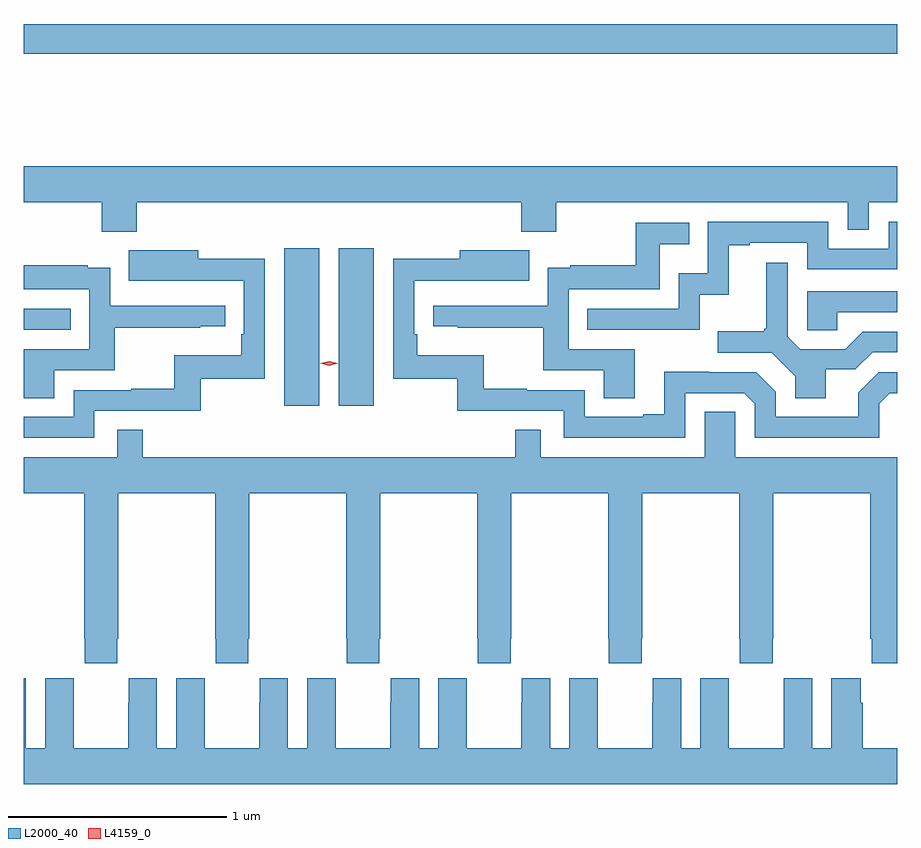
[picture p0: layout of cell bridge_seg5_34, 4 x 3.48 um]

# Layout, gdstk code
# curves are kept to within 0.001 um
import gdstk
lib = gdstk.Library(unit=1e-6, precision=1e-09)
def R(c, l, rs):  # rectangles x0, y0, x1, y1
    for r in rs: c.add(gdstk.rectangle(r[:2], r[2:], *l))
def P(c, l, *ps):  # polygons
    for p in ps: c.add(gdstk.Polygon(p, *l))
L2000_40 = (2000, 40)
L4159_0 = (4159, 0)

bridge_seg5_34 = lib.new_cell('bridge_seg5_34')
R(bridge_seg5_34, L2000_40, [(996.275,909.108,996.436,909.829), (996.524,909.108,996.685,909.829), (995.082,909.456,995.297,909.552), (995.082,910.72,999.082,910.856)])
P(bridge_seg5_34, L2000_40, [(995.6,910.04),(997.361,910.04),(997.361,909.905),(997.521,909.905),(997.521,910.04),(998.856,910.04),(998.856,909.913),(998.952,909.913),(998.952,910.04),(999.082,910.04),(999.082,910.204),(995.082,910.204),(995.082,910.04),(995.44,910.04),(995.44,909.905),(995.6,909.905)],
  [(998.178,909.617),(998.311,909.617),(998.311,909.843),(998.407,909.843),(998.407,909.855),(998.67,909.855),(998.67,909.732),(999.082,909.732),(999.082,909.951),(999.042,909.951),(999.042,909.828),(998.766,909.828),(998.766,909.951),(998.214,909.951),(998.214,909.715),(998.082,909.715),(998.082,909.552),(997.663,909.552),(997.663,909.456),(998.178,909.456)],
  [(997.879,909.366),(997.578,909.366),(997.578,909.642),(997.995,909.642),(997.995,909.848),(998.129,909.848),(998.129,909.945),(997.884,909.945),(997.884,909.751),(997.585,909.751),(997.585,909.739),(997.482,909.739),(997.482,909.567),(996.957,909.567),(996.957,909.471),(997.069,909.471),(997.069,909.466),(997.462,909.466),(997.462,909.27),(997.739,909.27),(997.739,909.142),(997.879,909.142)],
  [(995.406,909.084),(995.893,909.084),(995.893,909.231),(996.186,909.231),(996.186,909.782),(995.881,909.782),(995.881,909.82),(995.563,909.82),(995.563,909.68),(995.777,909.68),(995.777,909.681),(996.09,909.681),(996.09,909.436),(996.077,909.436),(996.077,909.34),(995.772,909.34),(995.772,909.185),(995.575,909.185),(995.575,909.18),(995.31,909.18),(995.31,909.057),(995.082,909.057),(995.082,908.961),(995.406,908.961)],
  [(998.112,909.165),(998.382,909.165),(998.43,909.117),(998.43,908.961),(999,908.961),(999,909.117),(999.048,909.165),(999.082,909.165),(999.082,909.261),(998.997,909.261),(998.903,909.167),(998.903,909.057),(998.526,909.057),(998.526,909.171),(998.436,909.261),(998.22,909.261),(998.22,909.263),(998.015,909.263),(998.015,909.07),(997.919,909.07),(997.919,909.057),(997.65,909.057),(997.65,909.18),(997.385,909.18),(997.385,909.185),(997.189,909.185),(997.189,909.34),(996.884,909.34),(996.884,909.436),(996.87,909.436),(996.87,909.681),(997.397,909.68),(997.397,909.82),(997.079,909.82),(997.079,909.782),(996.774,909.782),(996.774,909.231),(997.068,909.231),(997.068,909.084),(997.554,909.084),(997.554,908.961),(998.112,908.961)],
  [(998.755,909.274),(998.89,909.274),(998.97,909.354),(999.082,909.354),(999.082,909.447),(998.924,909.447),(998.843,909.366),(998.637,909.366),(998.58,909.423),(998.58,909.763),(998.483,909.763),(998.483,909.46),(998.472,909.46),(998.472,909.448),(998.259,909.448),(998.259,909.351),(998.508,909.351),(998.615,909.244),(998.615,909.142),(998.755,909.142)],
  [(995.221,909.27),(995.498,909.27),(995.498,909.466),(995.891,909.466),(995.891,909.471),(996.004,909.471),(996.004,909.567),(995.478,909.567),(995.478,909.739),(995.375,909.739),(995.375,909.751),(995.082,909.751),(995.082,909.642),(995.382,909.642),(995.382,909.366),(995.082,909.366),(995.082,909.142),(995.221,909.142)],
  [(998.807,909.537),(999.082,909.537),(999.082,909.633),(998.67,909.633),(998.67,909.453),(998.807,909.453)],
  [(995.511,908.041),(995.514,908.041),(995.514,908.708),(995.959,908.708),(995.959,908.041),(995.961,908.041),(995.961,907.929),(996.111,907.929),(996.111,908.041),(996.114,908.041),(996.114,908.708),(996.559,908.708),(996.559,908.041),(996.561,908.041),(996.561,907.929),(996.711,907.929),(996.711,908.041),(996.714,908.041),(996.714,908.708),(997.159,908.708),(997.159,908.041),(997.161,908.041),(997.161,907.929),(997.311,907.929),(997.311,908.041),(997.314,908.041),(997.314,908.708),(997.759,908.708),(997.759,908.041),(997.761,908.041),(997.761,907.929),(997.911,907.929),(997.911,908.041),(997.914,908.041),(997.914,908.708),(998.359,908.708),(998.359,908.041),(998.361,908.041),(998.361,907.929),(998.511,907.929),(998.511,908.041),(998.514,908.041),(998.514,908.708),(998.959,908.708),(998.959,908.041),(998.965,908.041),(998.965,907.929),(999.082,907.929),(999.082,908.872),(998.34,908.872),(998.34,909.08),(998.201,909.08),(998.201,908.872),(997.449,908.872),(997.449,908.999),(997.333,908.999),(997.333,908.872),(995.627,908.872),(995.627,908.999),(995.511,908.999),(995.511,908.872),(995.082,908.872),(995.082,908.708),(995.359,908.708),(995.359,908.041),(995.361,908.041),(995.361,907.929),(995.511,907.929)],
  [(996.162,907.861),(996.162,907.748),(996.161,907.748),(996.161,907.54),(995.911,907.54),(995.911,907.748),(995.91,907.748),(995.91,907.861),(995.78,907.861),(995.78,907.54),(995.692,907.54),(995.692,907.861),(995.562,907.861),(995.562,907.748),(995.561,907.748),(995.561,907.54),(995.311,907.54),(995.311,907.748),(995.31,907.748),(995.31,907.861),(995.18,907.861),(995.18,907.54),(995.092,907.54),(995.092,907.861),(995.082,907.861),(995.082,907.376),(999.082,907.376),(999.082,907.54),(998.924,907.54),(998.924,907.748),(998.914,907.748),(998.914,907.861),(998.78,907.861),(998.78,907.54),(998.692,907.54),(998.692,907.861),(998.562,907.861),(998.562,907.748),(998.561,907.748),(998.561,907.54),(998.311,907.54),(998.311,907.748),(998.31,907.748),(998.31,907.861),(998.18,907.861),(998.18,907.54),(998.092,907.54),(998.092,907.861),(997.962,907.861),(997.962,907.748),(997.961,907.748),(997.961,907.54),(997.711,907.54),(997.711,907.748),(997.71,907.748),(997.71,907.861),(997.58,907.861),(997.58,907.54),(997.492,907.54),(997.492,907.861),(997.362,907.861),(997.362,907.748),(997.361,907.748),(997.361,907.54),(997.111,907.54),(997.111,907.748),(997.11,907.748),(997.11,907.861),(996.98,907.861),(996.98,907.54),(996.892,907.54),(996.892,907.861),(996.762,907.861),(996.762,907.748),(996.761,907.748),(996.761,907.54),(996.511,907.54),(996.511,907.748),(996.51,907.748),(996.51,907.861),(996.38,907.861),(996.38,907.54),(996.292,907.54),(996.292,907.861)])
P(bridge_seg5_34, L4159_0, [(996.48,909.292),(996.44,909.302),(996.44,909.302),(996.44,909.302),(996.48,909.312),(996.52,909.302),(996.52,909.302),(996.52,909.302)])

lib.write_gds('bridge_seg5_34.gds')
